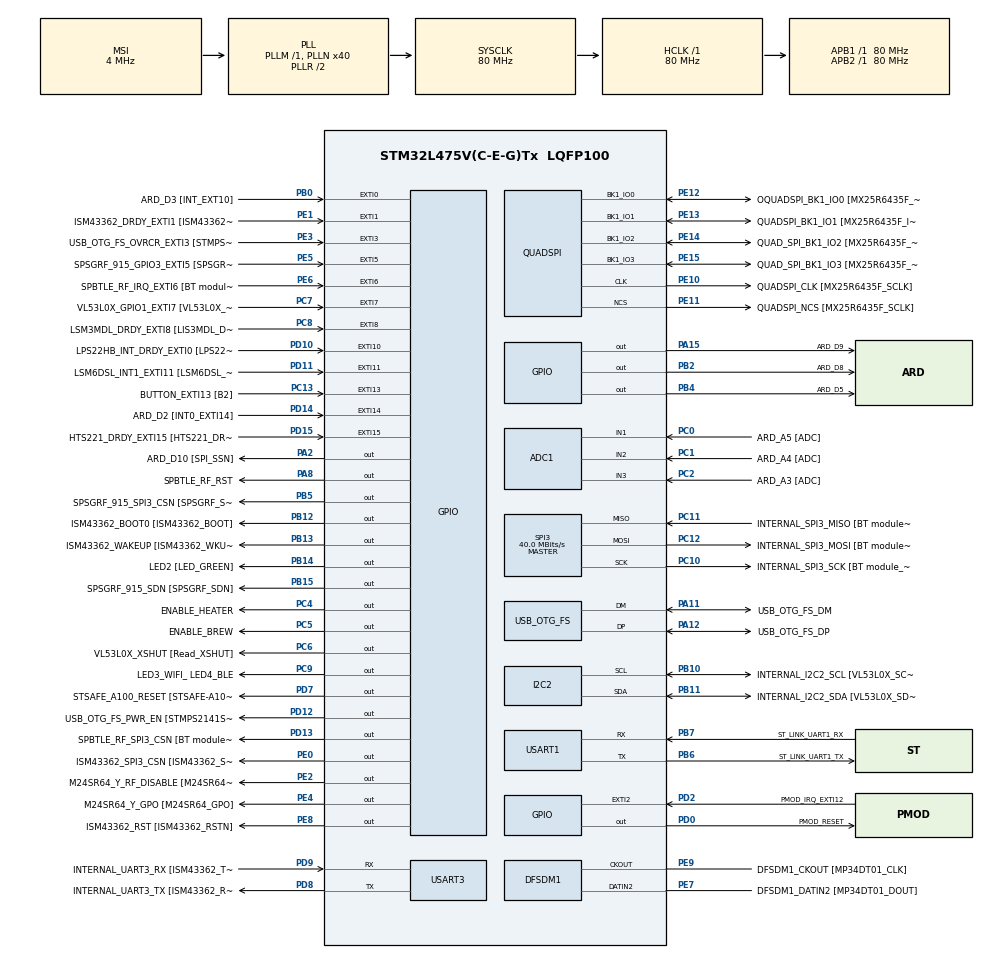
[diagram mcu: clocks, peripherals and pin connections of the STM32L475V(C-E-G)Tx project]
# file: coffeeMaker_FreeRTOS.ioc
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ADC1.Channel-0\#ChannelRegularConversion=ADC_CHANNEL_1
ADC1.NbrOfConversionFlag=1
ADC1.OffsetNumber-0\#ChannelRegularConversion=ADC_OFFSET_NONE
ADC1.Rank-0\#ChannelRegularConversion=1
ADC1.SamplingTime-0\#ChannelRegularConversion=ADC_SAMPLETIME_2CYCLES_5
ADC1.master=1
FREERTOS.INCLUDE_xTimerPendFunctionCall=1
FREERTOS.Tasks01=defaultTask,0,128,StartDefaultTask,Default,NULL,Dynamic,NULL,NULL
FREERTOS.configTOTAL_HEAP_SIZE=4000
FREERTOS.configUSE_TIMERS=1
I2C2.Timing=0x10909CEC
Mcu.Family=STM32L4
Mcu.Name=STM32L475V(C-E-G)Tx
Mcu.Package=LQFP100
NVIC.EXTI15_10_IRQn=true\:5\:0\:false\:false\:true\:true\:true\:true
NVIC.EXTI9_5_IRQn=true\:5\:0\:false\:false\:true\:true\:true\:true
NVIC.PriorityGroup=NVIC_PRIORITYGROUP_4
NVIC.TIM1_UP_TIM16_IRQn=true\:0\:0\:false\:false\:true\:false\:false\:true
NVIC.TimeBase=TIM1_UP_TIM16_IRQn
NVIC.TimeBaseIP=TIM1
PA0.GPIO_Label=ARD_D1 [UART4_TX]
PA0.Signal=UART4_TX
PA1.GPIO_Label=ARD_D0 [UART4_RX]
PA1.Signal=UART4_RX
PA10.GPIO_Label=USB_OTG_FS_ID
PA10.Signal=USB_OTG_FS_ID
PA11.GPIO_Label=USB_OTG_FS_DM
PA11.Mode=Device_Only
PA11.Signal=USB_OTG_FS_DM
PA12.GPIO_Label=USB_OTG_FS_DP
PA12.Mode=Device_Only
PA12.Signal=USB_OTG_FS_DP
PA13\ (JTMS-SWDIO).GPIO_Label=SYS_JTMS_SWDIO
PA13\ (JTMS-SWDIO).Mode=Serial_Wire
PA13\ (JTMS-SWDIO).Signal=SYS_JTMS-SWDIO
PA14\ (JTCK-SWCLK).GPIO_Label=SYS_JTCK_SWCLK
PA14\ (JTCK-SWCLK).Mode=Serial_Wire
PA14\ (JTCK-SWCLK).Signal=SYS_JTCK-SWCLK
PA15\ (JTDI).GPIO_Label=ARD_D9
PA15\ (JTDI).Signal=GPIO_Output
PA2.GPIO_Label=ARD_D10 [SPI_SSN]
PA2.Signal=GPIO_Output
PA3.GPIO_Label=ARD_D4
PA3.Signal=S_TIM2_CH4
PA4.GPIO_Label=ARD_D7
PA4.Signal=ADCx_IN9
PA5.GPIO_Label=ARD_D13 [SPI1_SCK]
PA5.Signal=SPI1_SCK
PA6.GPIO_Label=ARD_D12 [SPI1_MISO]
PA6.Signal=SPI1_MISO
PA7.GPIO_Label=ARD_D11 [SPI1_MOSI]
PA7.Signal=SPI1_MOSI
PA8.GPIO_Label=SPBTLE_RF_RST
PA8.Signal=GPIO_Output
PA9.GPIO_Label=USB_OTG_FS_VBUS [STMPS2141STR_OUT]
PA9.Signal=USB_OTG_FS_VBUS
PB0.GPIO_Label=ARD_D3 [INT_EXT10]
PB0.Signal=GPXTI0
PB1.GPIO_Label=ARD_D6 [ADC1_IN6]
PB1.Signal=ADCx_IN16
PB10.GPIO_Label=INTERNAL_I2C2_SCL [VL53L0X_SCL]
PB10.Mode=I2C
PB10.Signal=I2C2_SCL
PB11.GPIO_Label=INTERNAL_I2C2_SDA [VL53L0X_SDA]
PB11.Mode=I2C
PB11.Signal=I2C2_SDA
PB12.GPIO_Label=ISM43362_BOOT0 [ISM43362_BOOT]
PB12.Signal=GPIO_Output
PB13.GPIO_Label=ISM43362_WAKEUP [ISM43362_WKUP]
PB13.Signal=GPIO_Output
PB14.GPIO_Label=LED2 [LED_GREEN]
PB14.Signal=GPIO_Output
PB15.GPIO_Label=SPSGRF_915_SDN [SPSGRF_SDN]
PB15.Signal=GPIO_Output
PB2.GPIO_Label=ARD_D8
PB2.Signal=GPIO_Output
PB3\ (JTDO-TRACESWO).GPIO_Label=SYS_JTD0_SWO
PB3\ (JTDO-TRACESWO).Signal=SYS_JTDO-SWO
PB4\ (NJTRST).GPIO_Label=ARD_D5
PB4\ (NJTRST).Signal=GPIO_Output
PB5.GPIO_Label=SPSGRF_915_SPI3_CSN [SPSGRF_SPI_CS]
PB5.PinState=GPIO_PIN_SET
PB5.Signal=GPIO_Output
PB6.GPIO_Label=ST_LINK_UART1_TX
PB6.Mode=Asynchronous
PB6.Signal=USART1_TX
PB7.GPIO_Label=ST_LINK_UART1_RX
PB7.Mode=Asynchronous
PB7.Signal=USART1_RX
PB8.GPIO_Label=ARD_D15 [I2C1_SCL]
PB8.Signal=I2C1_SCL
PB9.GPIO_Label=ARD_D14 [I2C1_SDA]
PB9.Signal=I2C1_SDA
PC0.GPIO_Label=ARD_A5 [ADC]
PC0.Signal=ADCx_IN1
PC1.GPIO_Label=ARD_A4 [ADC]
PC1.Signal=ADCx_IN2
PC10.GPIO_Label=INTERNAL_SPI3_SCK [BT module_SPI_SCLK] [ISM43362_SCK]
PC10.Mode=Full_Duplex_Master
PC10.Signal=SPI3_SCK
PC11.GPIO_Label=INTERNAL_SPI3_MISO [BT module_SPI_MISO] [ISM43362_MISO]
PC11.Mode=Full_Duplex_Master
PC11.Signal=SPI3_MISO
PC12.GPIO_Label=INTERNAL_SPI3_MOSI [BT module_SPI_MOSI] [ISM43362_MOSI]
PC12.Mode=Full_Duplex_Master
PC12.Signal=SPI3_MOSI
PC13.GPIO_Label=BUTTON_EXTI13 [B2]
PC13.GPIO_ModeDefaultEXTI=GPIO_MODE_IT_FALLING
PC13.Signal=GPXTI13
PC14-OSC32_IN\ (PC14).Mode=LSE-External-Oscillator
PC14-OSC32_IN\ (PC14).Signal=RCC_OSC32_IN
PC15-OSC32_OUT\ (PC15).Mode=LSE-External-Oscillator
PC15-OSC32_OUT\ (PC15).Signal=RCC_OSC32_OUT
PC2.GPIO_Label=ARD_A3 [ADC]
PC2.Signal=ADCx_IN3
PC3.GPIO_Label=ARD_A2 [ADC]
PC3.Signal=ADCx_IN4
PC4.GPIO_Label=ENABLE_HEATER
PC4.Signal=GPIO_Output
PC5.GPIO_Label=ENABLE_BREW
PC5.Signal=GPIO_Output
PC6.GPIO_Label=VL53L0X_XSHUT [Read_XSHUT]
PC6.Signal=GPIO_Output
PC7.GPIO_Label=VL53L0X_GPIO1_EXTI7 [VL53L0X_GPIO1]
PC7.Signal=GPXTI7
PC8.GPIO_Label=LSM3MDL_DRDY_EXTI8 [LIS3MDL_DRDY]
PC8.Signal=GPXTI8
PC9.GPIO_Label=LED3_WIFI_ LED4_BLE
PC9.Signal=GPIO_Output
PD0.GPIO_Label=PMOD_RESET
PD0.Signal=GPIO_Output
PD1.GPIO_Label=PMOD_SPI2_SCK
PD1.Signal=SPI2_SCK
PD10.GPIO_Label=LPS22HB_INT_DRDY_EXTI0 [LPS22HB_INT_DRDY] 
PD10.Signal=GPXTI10
PD11.GPIO_Label=LSM6DSL_INT1_EXTI11 [LSM6DSL_INT1]
PD11.Signal=GPXTI11
PD12.GPIO_Label=USB_OTG_FS_PWR_EN [STMPS2141STR_EN]
PD12.Signal=GPIO_Output
PD13.GPIO_Label=SPBTLE_RF_SPI3_CSN [BT module_SPI_CS]
PD13.PinState=GPIO_PIN_SET
PD13.Signal=GPIO_Output
PD14.GPIO_Label=ARD_D2 [INT0_EXTI14]
PD14.Signal=GPXTI14
PD15.GPIO_Label=HTS221_DRDY_EXTI15 [HTS221_DRDY]
PD15.Signal=GPXTI15
PD2.GPIO_Label=PMOD_IRQ_EXTI12
PD2.Signal=GPXTI2
PD3.GPIO_Label=PMOD_UART2_CTS
PD3.Signal=USART2_CTS
PD4.GPIO_Label=PMOD_UART2_RTS
PD4.Signal=USART2_RTS
PD5.GPIO_Label=PMOD_UART2_TX
PD5.Signal=USART2_TX
PD6.GPIO_Label=PMOD_UART2_RX
PD6.Signal=USART2_RX
PD7.GPIO_Label=STSAFE_A100_RESET [STSAFE-A100_RESET]
PD7.Signal=GPIO_Output
PD8.GPIO_Label=INTERNAL_UART3_TX [ISM43362_RX]
PD8.Mode=Asynchronous
PD8.Signal=USART3_TX
PD9.GPIO_Label=INTERNAL_UART3_RX [ISM43362_TX]
PD9.Mode=Asynchronous
PD9.Signal=USART3_RX
PE0.GPIO_Label=ISM43362_SPI3_CSN [ISM43362_SSN]
PE0.PinState=GPIO_PIN_SET
PE0.Signal=GPIO_Output
PE1.GPIO_Label=ISM43362_DRDY_EXTI1 [ISM43362_DATARDY]
PE1.Signal=GPXTI1
PE10.GPIO_Label=QUADSPI_CLK [MX25R6435F_SCLK]
PE10.Mode=Single Bank
PE10.Signal=QUADSPI_CLK
PE11.GPIO_Label=QUADSPI_NCS [MX25R6435F_SCLK]
PE11.Mode=Single Bank
PE11.Signal=QUADSPI_NCS
PE12.GPIO_Label=OQUADSPI_BK1_IO0 [MX25R6435F_IO0]
PE12.Mode=Single Bank
PE12.Signal=QUADSPI_BK1_IO0
PE13.GPIO_Label=QUADSPI_BK1_IO1 [MX25R6435F_IO1]
PE13.Mode=Single Bank
PE13.Signal=QUADSPI_BK1_IO1
PE14.GPIO_Label=QUAD_SPI_BK1_IO2 [MX25R6435F_IO2]
PE14.Mode=Single Bank
PE14.Signal=QUADSPI_BK1_IO2
PE15.GPIO_Label=QUAD_SPI_BK1_IO3 [MX25R6435F_IO3]
PE15.Mode=Single Bank
PE15.Signal=QUADSPI_BK1_IO3
PE2.GPIO_Label=M24SR64_Y_RF_DISABLE [M24SR64_RFDIS]
PE2.Signal=GPIO_Output
PE3.GPIO_Label=USB_OTG_FS_OVRCR_EXTI3 [STMPS2141STR_FAULT]
PE3.Signal=GPXTI3
PE4.GPIO_Label=M24SR64_Y_GPO [M24SR64_GPO]
PE4.Signal=GPIO_Output
PE5.GPIO_Label=SPSGRF_915_GPIO3_EXTI5 [SPSGRF_GPIO_3]
PE5.Signal=GPXTI5
PE6.GPIO_Label=SPBTLE_RF_IRQ_EXTI6 [BT module_SPI_IRQ]
PE6.Signal=GPXTI6
PE7.GPIO_Label=DFSDM1_DATIN2 [MP34DT01_DOUT]
PE7.Signal=S_DATAIN2DFSDM1
PE8.GPIO_Label=ISM43362_RST [ISM43362_RSTN]
PE8.Signal=GPIO_Output
PE9.GPIO_Label=DFSDM1_CKOUT [MP34DT01_CLK]
PE9.Signal=S_CKOUTDFSDM1
ProjectManager.HeapSize=0x200
ProjectManager.StackSize=0x400
ProjectManager.TargetToolchain=STM32CubeIDE
RCC.ADCFreq_Value=48000000
RCC.AHBFreq_Value=80000000
RCC.APB1Freq_Value=80000000
RCC.APB1TimFreq_Value=80000000
RCC.APB2Freq_Value=80000000
RCC.APB2TimFreq_Value=80000000
RCC.CortexFreq_Value=80000000
RCC.HCLKFreq_Value=80000000
RCC.HSE_VALUE=8000000
RCC.HSI_VALUE=16000000
RCC.MSI_VALUE=4000000
RCC.PLLN=40
RCC.PLLSAI1N=24
RCC.SYSCLKFreq_VALUE=80000000
RCC.SYSCLKSource=RCC_SYSCLKSOURCE_PLLCLK
RCC.USBFreq_Value=48000000
RCC.VCOOutputFreq_Value=160000000
SH.ADCx_IN1.0=ADC1_IN1,IN1-Single-Ended
SH.ADCx_IN16.0=ADC1_IN16
SH.ADCx_IN2.0=ADC1_IN2,IN2-Single-Ended
SH.ADCx_IN3.0=ADC1_IN3,IN3-Single-Ended
SH.ADCx_IN4.0=ADC1_IN4
SH.ADCx_IN9.0=ADC1_IN9
SH.S_CKOUTDFSDM1.0=DFSDM1_CKOUT,CKOUT
SH.S_CKOUTDFSDM1.1=DFSDM1_CKOUT,PDM_SPI_Input_from_ch12_and_Internal_Clock
SH.S_DATAIN2DFSDM1.0=DFSDM1_DATIN2,PDM_SPI_Input_from_ch12_and_Internal_Clock
SH.S_TIM2_CH4.0=TIM2_CH4
SPI3.CalculateBaudRate=40.0 MBits/s
SPI3.Direction=SPI_DIRECTION_2LINES
SPI3.Mode=SPI_MODE_MASTER
SPI3.VirtualType=VM_MASTER
USART1.VirtualMode-Asynchronous=VM_ASYNC
USART3.VirtualMode-Asynchronous=VM_ASYNC
USB_OTG_FS.VirtualMode=Device_Only
VP_FREERTOS_VS_CMSIS_V1.Mode=CMSIS_V1
VP_SYS_VS_tim1.Mode=TIM1
board=B-L475E-IOT01A1

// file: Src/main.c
/* USER CODE BEGIN Header */
/**
  ******************************************************************************
  * @file           : main.c
  * @brief          : Main program body
  ******************************************************************************
  * @attention
  *
  * <h2><center>&copy; Copyright (c) 2020 STMicroelectronics.
  * All rights reserved.</center></h2>
  *
  * This software component is licensed by ST under Ultimate Liberty license
  * SLA0044, the "License"; You may not use this file except in compliance with
  * the License. You may obtain a copy of the License at:
  *                             www.st.com/SLA0044
  *
  ******************************************************************************
  */
/* USER CODE END Header */

#include "main.h"
#include "cmsis_os.h"

/* USER CODE BEGIN Includes */
#include "stdio.h"
#include "string.h"
/* USER CODE END Includes */

/* USER CODE BEGIN PTD */
typedef struct {
  uint8_t xPosition;
  uint8_t yPosition;
  char * textColor;
  char * textStr;
}queueCfg_t;

/* USER CODE END PTD */

/* USER CODE BEGIN PD */

//ANSI Escape Sequqnces for VT100 terminal emulation
#define RED_ON_BLK  "31;40"
#define WHT_ON_BLK  "37;40"
#define YEL_ON_BLK  "33;40"
#define GRN_ON_BLK  "32;40"
#define BLU_ON_BLK  "34;40"

#define BLK_ON_RED  "30;41"
#define BLK_ON_WHT  "30;47"
#define BLK_ON_YEL  "30;43"
#define BLK_ON_GRN  "30;42"

#define NORMAL WHT_ON_BLK

#define EVENT_GROUP_TEMPERATURE_SET (1<<0)
#define EVENT_GROUP_VOLUME_SET (1<<1)
#define EVENT_GROUP_BREW_ENABLED (1<<2)

#define BLUE_LED_Pin GPIO_PIN_9
#define BLUE_LED_GPIO_Port GPIOC
#define SET_BLUE_LED(enable) HAL_GPIO_WritePin(BLUE_LED_GPIO_Port, BLUE_LED_Pin, !(enable))

#define SET_WARM_MODE(enable) HAL_GPIO_WritePin(ENABLE_HEATER_GPIO_Port, ENABLE_HEATER_Pin, !enable)
#define SET_BREW_MODE(enable) HAL_GPIO_WritePin(ENABLE_BREW_GPIO_Port, ENABLE_BREW_Pin, !enable)

#define STATE_INIT             0
#define STATE_SET_MODE         1
#define STATE_SET_VOLUME       2
#define STATE_SET_TEMPERATURE  3
#define STATE_BREW             4

/* USER CODE END PD */

ADC_HandleTypeDef hadc1;

DFSDM_Channel_HandleTypeDef hdfsdm1_channel1;

I2C_HandleTypeDef hi2c2;

QSPI_HandleTypeDef hqspi;

SPI_HandleTypeDef hspi3;

UART_HandleTypeDef huart1;
UART_HandleTypeDef huart3;

PCD_HandleTypeDef hpcd_USB_OTG_FS;

osThreadId defaultTaskHandle;
/* USER CODE BEGIN PV */
QueueHandle_t xMsgQueue;
SemaphoreHandle_t xButtonClickSemaphore;
ADC_ChannelConfTypeDef sConfig;
SemaphoreHandle_t xMutexADC1;
EventGroupHandle_t xEventGroup;
BaseType_t xHigherPriorityTaskWoken;
TimerHandle_t xBrewTimerAutoReload;
TimerHandle_t xUserInputFlashTimerOneShot;

uint32_t tempSetpoint=10;
uint32_t levelSetpoint=0;

/* USER CODE END PV */

void SystemClock_Config(void);
static void MX_GPIO_Init(void);
static void MX_DFSDM1_Init(void);
static void MX_I2C2_Init(void);
static void MX_QUADSPI_Init(void);
static void MX_SPI3_Init(void);
static void MX_USART1_UART_Init(void);
static void MX_USART3_UART_Init(void);
static void MX_USB_OTG_FS_PCD_Init(void);
static void MX_ADC1_Init(void);
void StartDefaultTask(void const * argument);

/* USER CODE BEGIN 0 */

uint32_t outputMsgCounter = 0;
static void updateUserInterface(int y, int x, char * clr, char * txt)
{
  queueCfg_t queueMsg;
  queueMsg.yPosition=y;
  queueMsg.xPosition=x;
  queueMsg.textColor=clr;
  queueMsg.textStr=txt;
  xQueueSendToBack(xMsgQueue, &queueMsg, portMAX_DELAY);
  //this delay intentionally slow queue TX processing
  //20msec is a 50Hz update rate
  vTaskDelay(pdMS_TO_TICKS(20));
  outputMsgCounter++;
}
//talkTag1
static void prvUserInputFlashTimerOneShot(TimerHandle_t xTimer)
{
  //turn LED OFF
  //since this GPIO is also controlled by an interrupt handler
  //need to designate this as a critical section for GPIO resourse management.
  taskENTER_CRITICAL();
  SET_BLUE_LED(0);
  taskEXIT_CRITICAL();
  (void)xTimer;
}

//talkTag2
uint32_t uptime=0;
static void prvBrewTimerAutoReload(TimerHandle_t xTimer)
{
  char buf[80];
  sprintf(buf, "%li secs", uptime);
  updateUserInterface(25, 27, YEL_ON_BLK,  buf);
  uptime++;
  (void)xTimer;
}

//talkTag3
static void prvTaskConsoleOutput(void* pvParameters)
{
  char buf[80];
  queueCfg_t queueMsg;

  //init output
  snprintf(buf, sizeof(buf), "\033[2J");
  HAL_UART_Transmit(&huart1, (uint8_t *)buf, strlen(buf), 1000);

  for (;; )
  {
    //Wait for a user defined data element to become available on a queue.  If queue is not empty:
    uxQueueMessagesWaiting(xMsgQueue);
    while (uxQueueMessagesWaiting(xMsgQueue))
    {
      //Pull data element from the queue.
      xQueueReceive(xMsgQueue, &queueMsg, portMAX_DELAY);
      //Format the output char array
      sprintf(buf, "\033[%d;%dH\033[%sm%s", queueMsg.xPosition, queueMsg.yPosition, queueMsg.textColor, queueMsg.textStr);
      HAL_UART_Transmit(&huart1, (uint8_t *)buf, strlen(buf), 1000);
      sprintf(buf, "\033[1D");
      HAL_UART_Transmit(&huart1, (uint8_t *)buf, strlen(buf), 1000);
    }
  }
}
static void prvTaskProcessUserInput(void* pvParameters)
{
  uint8_t enableBrew = 0;
  uint8_t ySelectorPosition;
  uint8_t previous_ySelectorPosition;
  uint32_t adcReadVal;
  uint8_t buttonClicked = 0;

  char buf[80];

  //init state mechine to STATE_INIT
  uint8_t userInterfaceState = STATE_INIT;

  for (;;)
  {
    //hard code bypass of all userSelect code
    //shutdown the user interface in brew mode

    if(enableBrew == 0)
    {
      //Take mutex to access ADC.
      xSemaphoreTake(xMutexADC1, portMAX_DELAY);
      {
        sConfig.Channel = ADC_CHANNEL_1;
        HAL_ADC_ConfigChannel(&hadc1, &sConfig);
        HAL_ADC_Start(&hadc1);
        while(HAL_ADC_PollForConversion(&hadc1, HAL_MAX_DELAY)!=HAL_OK);
        adcReadVal = HAL_ADC_GetValue(&hadc1);
      }
      //Give mutex
      xSemaphoreGive(xMutexADC1);

      if(xSemaphoreTake(xButtonClickSemaphore,0))
      {
        //selects state active behavior
        buttonClicked=1;
      }
      else
      {
        //selects state default behavior
        buttonClicked=0;
      }

      //main process state machine
      //goes idle when brewEable = 1
      //states will reset buttonClicked to 0
      switch(userInterfaceState)
      {
        //state:STATE_INIT
        //one time init to the screen
        case(STATE_INIT):
        {
          //state:STATE_INIT
          //one time init to the screen
          //Perform a one-time initialization of the VT100 console.
          updateUserInterface(0, 1, BLU_ON_BLK,  "Welcome to Embedded Real-Time Operating Systems (RTOS)");
          updateUserInterface(0, 2, BLU_ON_BLK,  "~~~~~~~~~~~~~~~~~~~~~~~~~~~~~~~~~~~~~~~~~~~~~~~~~~~~~~");
          updateUserInterface(0, 3, BLU_ON_BLK,  "~            Assignment: Final Project               ~");
          updateUserInterface(0, 4, BLU_ON_BLK,  "~         Course Number: ECE-40290                   ~");
          updateUserInterface(0, 5, BLU_ON_BLK,  "~            Section ID: 146369                      ~");
          updateUserInterface(0, 6, BLU_ON_BLK,  "~          Student Name: Chris Isabelle              ~");
          updateUserInterface(0, 7, BLU_ON_BLK,  "~                   SID: U01136665                   ~");
          updateUserInterface(0, 8, BLU_ON_BLK,  "~~~~~~~~~~~~~~~~~~~~~~~~~~~~~~~~~~~~~~~~~~~~~~~~~~~~~~");

          updateUserInterface(4, 10, YEL_ON_BLK,  "  Coffee Level (oz)");
          updateUserInterface(16, 11, YEL_ON_BLK,  "   Set:");
          updateUserInterface(24, 11, RED_ON_BLK,  "unknown");
          updateUserInterface(16, 12, YEL_ON_BLK,  "Actual:");

          updateUserInterface(4, 14, YEL_ON_BLK,  "  Coffee Temperature");
          updateUserInterface(16, 15, YEL_ON_BLK,  "   Set:");
          updateUserInterface(24, 15, RED_ON_BLK,  "unknown");
          updateUserInterface(16, 16, YEL_ON_BLK,  "Actual:");

          updateUserInterface(4, 18, YEL_ON_BLK,  "  Start Brew");
          updateUserInterface(4, 20, GRN_ON_BLK,  ">>Use Joy-Stick to Select");
          //changes state to STATE_SET_MODE
          userInterfaceState = STATE_SET_MODE;
          //selects state default behavior
          buttonClicked=0;
          break;
        }

        //state:STATE_SET_MODE
        //Joy stick scrolls UP/DOWN and selects userInterfaceState
        case(STATE_SET_MODE):
        {
          //Scale and limit screen y value to line-up with screen options
          //1790 & 512 are manual cal adjust for specific platform
          ySelectorPosition += (((int16_t)adcReadVal)-1790)/512;
          ySelectorPosition = ySelectorPosition > 0xf ? 0xf : ySelectorPosition;
          ySelectorPosition = ySelectorPosition < 0 ? 0 : ySelectorPosition;
          ySelectorPosition &= 0xc;

          //default behavior : scroll up an down with current selection in GRN all other option are in YEL
          if(ySelectorPosition!=previous_ySelectorPosition)
          {
            updateUserInterface(4, 10, YEL_ON_BLK,  "  Coffee Level (oz)");
            updateUserInterface(4, 14, YEL_ON_BLK,  "  Coffee Temperature");
            updateUserInterface(4, 18, YEL_ON_BLK,  "  Start Brew");
            updateUserInterface(4, 20, YEL_ON_BLK,  "  Use Joy-Stick to Select");
            switch(ySelectorPosition)
            {
              case(0x0):updateUserInterface(4, 10, GRN_ON_BLK,  ">>Coffee Level (oz)"); break;
              case(0x4):updateUserInterface(4, 14, GRN_ON_BLK,  ">>Coffee Temperature"); break;
              case(0x8):updateUserInterface(4, 18, GRN_ON_BLK,  ">>Start Brew"); break;
              case(0xc):updateUserInterface(4, 20, GRN_ON_BLK,  ">>Use Joy-Stick to Select"); break;
            }
            previous_ySelectorPosition = ySelectorPosition;
            //add additional delay to slow slew rate
            vTaskDelay(pdMS_TO_TICKS(100));
          }
          //active behavior : detect user button click and set userInterfaceState.
          if(buttonClicked)
          {
            //selects state default behavior
            buttonClicked=0;
            switch(ySelectorPosition)
            {
                            //user selection adjust coffee volume
                case(0x0):  userInterfaceState = STATE_SET_VOLUME;
                            break;
                            //user selection adjust coffee temperature
                case(0x4):  userInterfaceState = STATE_SET_TEMPERATURE;
                            break;
                case(0x8):  userInterfaceState = STATE_BREW;
                            updateUserInterface(4, 18, YEL_ON_BLK,  "  Start Brew");
                            updateUserInterface(6, 24, GRN_ON_BLK,  "~~~~~~~~~~~~~~~~~~~~~~~~~~~~~");
                            updateUserInterface(6, 25, GRN_ON_BLK,  "~    Coffee Brew :          ~");
                            updateUserInterface(6, 26, GRN_ON_BLK,  "~  Coffee Warmer :          ~");
                            updateUserInterface(6, 27, GRN_ON_BLK,  "~      Brew Time :          ~");
                            updateUserInterface(6, 28, GRN_ON_BLK,  "~~~~~~~~~~~~~~~~~~~~~~~~~~~~~");
                            break;
            }
          }
          break;
        }

       //state:STATE_SET_VOLUME
       //Joy stick scrolls UP/DOWN and selects levelSetpoint
        case(STATE_SET_VOLUME):
        {
          //active behavior : set userInterfaceState to STATE_SET_MODE, locks levelSetpoint
          if(buttonClicked)
          {
            //selects state default behavior
            buttonClicked=0;
            userInterfaceState = STATE_SET_MODE;
            xEventGroupSetBits( xEventGroup, EVENT_GROUP_VOLUME_SET);
            updateUserInterface(4, 10, YEL_ON_BLK,  "  Coffee Level (oz)");
            updateUserInterface(4, 20, GRN_ON_BLK,  ">>Use Joy-Stick to Select ");
            break;
          }
          //default behavior : scroll UP/DOWN in volume level in oz

          //adcReadVal of 3096 (~75% of ADC full scale) is a calibrated threshold for levelSetPoint decrement
          if(adcReadVal > 3096)
            levelSetpoint--;

          //adcReadVal of 1024 (~25% of ADC full scale) is a calibrated threshold for levelSetPoint increment
          if(adcReadVal < 1024)
            levelSetpoint++;

          //levelSetpoint maximum size is 20oz
          if(levelSetpoint > 20)
            levelSetpoint=20;

          //levelSetpoint minimum (and default) size is 4oz
          if(levelSetpoint < 4)
            levelSetpoint=4;

          //formats msg for real time ASNI updates to the trminal
          sprintf(buf, "%li oz    ", levelSetpoint);
          updateUserInterface(24, 11, GRN_ON_BLK,  buf);

          //add additional 100ms delay to slow slew rate
          vTaskDelay(pdMS_TO_TICKS(100));

          break;
        }

        //state:STATE_SET_TEMPERATURE
        //Joy stick scrolls UP/DOWN and selects tempSetpoint
        case(STATE_SET_TEMPERATURE):
        {
          //active behavior : set userInterfaceState to STATE_SET_MODE, locks tempSetpoint
          if(buttonClicked)
          {
            //selects state default behavior
            buttonClicked=0;
            userInterfaceState = STATE_SET_MODE;
            xEventGroupSetBits( xEventGroup, EVENT_GROUP_TEMPERATURE_SET);
            updateUserInterface(4, 14, YEL_ON_BLK,  "  Coffee Temperature (degC)");
            updateUserInterface(4, 20, GRN_ON_BLK,  ">>Use Joy-Stick to Select ");
            break;
          }

          //default behavior : scroll UP/DOWN in volume level in oz

          //adcReadVal of 3096 (~75% of ADC full scale) is a calibrated threshold for levelSetPoint decrement
          if(adcReadVal > 3096)
            tempSetpoint--;

          //adcReadVal of 1024 (~25% of ADC full scale) is a calibrated threshold for levelSetPoint increment
          if(adcReadVal < 1024)
            tempSetpoint++;

          //levelSetpoint maximum size is 60degC
          if(tempSetpoint>60)
            tempSetpoint=60;

          //tempSetpoint minimum (and default) size is 24degC
          if(tempSetpoint<24)
            tempSetpoint=24;

          //formats msg for real time ASNI updates to the trminal
          sprintf(buf, "%li degC / %li degF ", tempSetpoint, (uint32_t)((double)tempSetpoint * 1.8) + 32);
          updateUserInterface(24, 15, GRN_ON_BLK,  buf);

          //add additional 100msec delay to slow slew rate
          vTaskDelay(pdMS_TO_TICKS(100));

          break;
        }

        //state:STATE_SET_BREW
        //Joy stick selects BREW
        //xEventGroup EVENT_GROUP_BREW_ENABLED=1, releases  prvTaskProcessTemperature & prvTaskProcessLevel
        case(STATE_BREW):
        {
          //selects state default behavior
          buttonClicked=0;
          xEventGroupSetBits( xEventGroup, EVENT_GROUP_BREW_ENABLED);

          //start Brew timer
          xTimerStart(xBrewTimerAutoReload, 0);

          updateUserInterface(4, 20, GRN_ON_BLK,  ">>Use Joy-Stick to Select ");
          //set task to idle
          enableBrew = 1;
          break;
        }

        //state:INVALID
        default:
          //exception
          while(1);
      }
    }
    //process user interface ~ 10HZ
    //100msec is a 10Hz update rate
    vTaskDelay(pdMS_TO_TICKS(100));
  }
}

static void prvTaskProcessTemperature(void* pvParameters)
{
  char buf[80];
  uint32_t adcTemperature;
  for (;;)
  {
    //Check event group for OK to monitor & control temperature.
    xEventGroupWaitBits(xEventGroup,
        EVENT_GROUP_TEMPERATURE_SET | EVENT_GROUP_BREW_ENABLED,
        pdFALSE, //do not clear bits
        pdTRUE,  //wait for all bits
        portMAX_DELAY);

    //Take mutex to access ADC.
    xSemaphoreTake(xMutexADC1, portMAX_DELAY);
    {
      //Read ADC to acquire coffee temperature.
      sConfig.Channel = ADC_CHANNEL_3;
      HAL_ADC_ConfigChannel(&hadc1, &sConfig);
      HAL_ADC_Start(&hadc1);
      while(HAL_ADC_PollForConversion(&hadc1, HAL_MAX_DELAY)!=HAL_OK);
      adcTemperature = (uint32_t)( ((float)HAL_ADC_GetValue(&hadc1)/4096) * 100);
    }
    //Give mutex
    xSemaphoreGive(xMutexADC1);

    //Send output message to pvTaskConsoleOutput by placing a user defined data element on a queue.
    sprintf(buf, "%li degC / %li degF ", adcTemperature, (uint32_t)((double)adcTemperature * 1.8) + 32);
    updateUserInterface(24, 16, GRN_ON_BLK, buf);

    //Enable coffee warmer if coffee temperature below set point.
    if(adcTemperature > (tempSetpoint+1))
    {
      SET_WARM_MODE(0);
      updateUserInterface(25, 26, YEL_ON_BLK, "OFF");
    }

    //Disable coffee warmer if coffee temperature above the set point.
    if(adcTemperature < (tempSetpoint-1))
    {
      SET_WARM_MODE(1);
      updateUserInterface(25, 26, RED_ON_BLK, "ON ");
    }

    //update temperature at  1hz rate
    //delay 1000msec
    vTaskDelay(pdMS_TO_TICKS(1000));
  }
}
static void prvTaskProcessLevel(void* pvParameters)
{
  char buf[80];
  uint32_t adcLevel;
  for (;;)
  {
    //Check event group for OK to monitor & control level.
    xEventGroupWaitBits(xEventGroup,
        EVENT_GROUP_VOLUME_SET | EVENT_GROUP_BREW_ENABLED,
        pdFALSE, //do not clear bits
        pdTRUE,  //wait for all bits
        portMAX_DELAY);

    //Take mutex to access ADC.
    xSemaphoreTake(xMutexADC1, portMAX_DELAY);
    {
      //Read ADC to acquire coffee level.
      sConfig.Channel = ADC_CHANNEL_2;
      HAL_ADC_ConfigChannel(&hadc1, &sConfig);
      HAL_ADC_Start(&hadc1);
      while(HAL_ADC_PollForConversion(&hadc1, HAL_MAX_DELAY)!=HAL_OK);
      adcLevel = (uint32_t)( ((float)HAL_ADC_GetValue(&hadc1)/4096) * 24);
    }
    //Give mutex
    xSemaphoreGive(xMutexADC1);

    //Send output message to pvTaskConsoleOutput by placing a user defined data element on a queue.
    sprintf(buf, "%li oz  ", adcLevel);
    updateUserInterface(24, 12, GRN_ON_BLK, buf);

    if(adcLevel >= levelSetpoint)
    {
      SET_BREW_MODE(0);
      updateUserInterface(25, 25, RED_ON_BLK, "READY");
//      //this terminates the coffee level processing until a reset/restart
//      xEventGroupSetBits( xEventGroup, EVENT_GROUP_VOLUME_SET);
    }
    else
    {
      SET_BREW_MODE(1);
      updateUserInterface(25, 25, GRN_ON_BLK, "ON   ");
    }
    //update volume at 1hz rate
    //delay 1000msec
    vTaskDelay(pdMS_TO_TICKS(1000));
  }
}
//C callback function to trap interrupt for Blue <USER> button press
void HAL_GPIO_EXTI_Callback(uint16_t GPIO_Pin)
{
  xHigherPriorityTaskWoken = pdFALSE;
  UBaseType_t unSavedInterruptStatus;

  if(GPIO_Pin == BUTTON_EXTI13_Pin)
  {
    //turn LED ON
    //since this GPIO is also controlled by a task
    //need to designate this as a critical section for GPIO resourse management.
    unSavedInterruptStatus = taskENTER_CRITICAL_FROM_ISR();
    SET_BLUE_LED(1);
    taskEXIT_CRITICAL_FROM_ISR(unSavedInterruptStatus);

    //start one shot timer that turns LED off.
    xTimerStartFromISR(xUserInputFlashTimerOneShot, 0);
    xSemaphoreGiveFromISR(xButtonClickSemaphore, &xHigherPriorityTaskWoken);
    portYIELD_FROM_ISR(xHigherPriorityTaskWoken);
  }
}

/* USER CODE END 0 */

int main(void)
{

  /* MCU Configuration--------------------------------------------------------*/

  /* Reset of all peripherals, Initializes the Flash interface and the Systick. */
  HAL_Init();

  /* USER CODE BEGIN Init */
  sConfig.Channel = ADC_CHANNEL_1;
  sConfig.Rank = ADC_REGULAR_RANK_1;
  sConfig.SamplingTime = ADC_SAMPLETIME_2CYCLES_5;
  sConfig.SingleDiff = ADC_SINGLE_ENDED;
  sConfig.OffsetNumber = ADC_OFFSET_NONE;
  sConfig.Offset = 0;

  /* USER CODE END Init */

  /* Configure the system clock */
  SystemClock_Config();

  /* Initialize all configured peripherals */
  MX_GPIO_Init();
  MX_DFSDM1_Init();
  MX_I2C2_Init();
  MX_QUADSPI_Init();
  MX_SPI3_Init();
  MX_USART1_UART_Init();
  MX_USART3_UART_Init();
  MX_USB_OTG_FS_PCD_Init();
  MX_ADC1_Init();
  /* USER CODE BEGIN 2 */
  xEventGroup = xEventGroupCreate();
  //this sequence resets and initializes the simulator
  SET_WARM_MODE(1);
  SET_BREW_MODE(1);
  HAL_Delay(500);
  SET_WARM_MODE(0);
  SET_BREW_MODE(0);
  //initialize Blue LED to off
  SET_BLUE_LED(0);
  /* USER CODE END 2 */

  /* USER CODE BEGIN RTOS_MUTEX */
  xMutexADC1 = xSemaphoreCreateMutex();
  /* USER CODE END RTOS_MUTEX */

  /* USER CODE BEGIN RTOS_SEMAPHORES */
  xButtonClickSemaphore = xSemaphoreCreateBinary();
  /* USER CODE END RTOS_SEMAPHORES */

  /* USER CODE BEGIN RTOS_TIMERS */

  //Toggles LED every one second
  xBrewTimerAutoReload = xTimerCreate("AutoReload", /* The text name assigned to the timer. */
    pdMS_TO_TICKS(1000),            /* Timer delay. */
    pdTRUE,                         /* AutoRestart = TRUE. */
    0,                              /* pvTimerID */
    prvBrewTimerAutoReload);        /* The function that implements the timer. */

  //Turns off LED aftr .5 seconds
  xUserInputFlashTimerOneShot = xTimerCreate("OneShot", /* The text name assigned to the timer. */
    pdMS_TO_TICKS(500),             /* Timer delay. */
    pdFALSE,                        /* AutoRestart = TRUE. */
    0,                              /* pvTimerID */
    prvUserInputFlashTimerOneShot);        /* The function that implements the timer. */

  /* USER CODE END RTOS_TIMERS */

  /* USER CODE BEGIN RTOS_QUEUES */
  //create a queue 5 deep of user defined queueCfg_t data elements
  xMsgQueue = xQueueCreate(10, sizeof(queueCfg_t));
  /* USER CODE END RTOS_QUEUES */

  /* Create the thread(s) */
  /* definition and creation of defaultTask */
  osThreadDef(defaultTask, StartDefaultTask, osPriorityNormal, 0, 128);
  defaultTaskHandle = osThreadCreate(osThread(defaultTask), NULL);

  /* USER CODE BEGIN RTOS_THREADS */
  BaseType_t rtnVal;
  rtnVal = xTaskCreate(prvTaskConsoleOutput, "cons-out task", configMINIMAL_STACK_SIZE, NULL, 2, NULL);
  if(rtnVal == -1)  //exception
    while(1);

  rtnVal = xTaskCreate(prvTaskProcessUserInput, "proc-user task", configMINIMAL_STACK_SIZE, NULL, 3, NULL);
  if(rtnVal == -1)  //exception
    while(1);

  rtnVal = xTaskCreate(prvTaskProcessTemperature, "pro-temp task", configMINIMAL_STACK_SIZE, NULL, 4, NULL);
  if(rtnVal == -1)  //exception
    while(1);

  rtnVal = xTaskCreate(prvTaskProcessLevel, "proc-vol task", configMINIMAL_STACK_SIZE, NULL, 4, NULL);
  if(rtnVal == -1)  //exception
    while(1);

  /* add threads, ... */
  /* USER CODE END RTOS_THREADS */

  /* Start scheduler */
  osKernelStart();

  /* We should never get here as control is now taken by the scheduler */
  /* Infinite loop */
  while (1)
  {

  }
}

void SystemClock_Config(void)
{
  RCC_OscInitTypeDef RCC_OscInitStruct = {0};
  RCC_ClkInitTypeDef RCC_ClkInitStruct = {0};
  RCC_PeriphCLKInitTypeDef PeriphClkInit = {0};

  /** Configure LSE Drive Capability
  */
  HAL_PWR_EnableBkUpAccess();
  __HAL_RCC_LSEDRIVE_CONFIG(RCC_LSEDRIVE_LOW);
  /** Initializes the CPU, AHB and APB busses clocks
  */
  RCC_OscInitStruct.OscillatorType = RCC_OSCILLATORTYPE_LSE|RCC_OSCILLATORTYPE_MSI;
  RCC_OscInitStruct.LSEState = RCC_LSE_ON;
  RCC_OscInitStruct.MSIState = RCC_MSI_ON;
  RCC_OscInitStruct.MSICalibrationValue = 0;
  RCC_OscInitStruct.MSIClockRange = RCC_MSIRANGE_6;
  RCC_OscInitStruct.PLL.PLLState = RCC_PLL_ON;
  RCC_OscInitStruct.PLL.PLLSource = RCC_PLLSOURCE_MSI;
  RCC_OscInitStruct.PLL.PLLM = 1;
  RCC_OscInitStruct.PLL.PLLN = 40;
  RCC_OscInitStruct.PLL.PLLP = RCC_PLLP_DIV7;
  RCC_OscInitStruct.PLL.PLLQ = RCC_PLLQ_DIV2;
  RCC_OscInitStruct.PLL.PLLR = RCC_PLLR_DIV2;
  if (HAL_RCC_OscConfig(&RCC_OscInitStruct) != HAL_OK)
  {
    Error_Handler();
  }
  /** Initializes the CPU, AHB and APB busses clocks
  */
  RCC_ClkInitStruct.ClockType = RCC_CLOCKTYPE_HCLK|RCC_CLOCKTYPE_SYSCLK
                              |RCC_CLOCKTYPE_PCLK1|RCC_CLOCKTYPE_PCLK2;
  RCC_ClkInitStruct.SYSCLKSource = RCC_SYSCLKSOURCE_PLLCLK;
  RCC_ClkInitStruct.AHBCLKDivider = RCC_SYSCLK_DIV1;
  RCC_ClkInitStruct.APB1CLKDivider = RCC_HCLK_DIV1;
  RCC_ClkInitStruct.APB2CLKDivider = RCC_HCLK_DIV1;

  if (HAL_RCC_ClockConfig(&RCC_ClkInitStruct, FLASH_LATENCY_4) != HAL_OK)
  {
    Error_Handler();
  }
  PeriphClkInit.PeriphClockSelection = RCC_PERIPHCLK_USART1|RCC_PERIPHCLK_USART3
                              |RCC_PERIPHCLK_I2C2|RCC_PERIPHCLK_DFSDM1
                              |RCC_PERIPHCLK_USB|RCC_PERIPHCLK_ADC;
  PeriphClkInit.Usart1ClockSelection = RCC_USART1CLKSOURCE_PCLK2;
  PeriphClkInit.Usart3ClockSelection = RCC_USART3CLKSOURCE_PCLK1;
  PeriphClkInit.I2c2ClockSelection = RCC_I2C2CLKSOURCE_PCLK1;
  PeriphClkInit.AdcClockSelection = RCC_ADCCLKSOURCE_PLLSAI1;
  PeriphClkInit.Dfsdm1ClockSelection = RCC_DFSDM1CLKSOURCE_PCLK;
  PeriphClkInit.UsbClockSelection = RCC_USBCLKSOURCE_PLLSAI1;
  PeriphClkInit.PLLSAI1.PLLSAI1Source = RCC_PLLSOURCE_MSI;
  PeriphClkInit.PLLSAI1.PLLSAI1M = 1;
  PeriphClkInit.PLLSAI1.PLLSAI1N = 24;
  PeriphClkInit.PLLSAI1.PLLSAI1P = RCC_PLLP_DIV7;
  PeriphClkInit.PLLSAI1.PLLSAI1Q = RCC_PLLQ_DIV2;
  PeriphClkInit.PLLSAI1.PLLSAI1R = RCC_PLLR_DIV2;
  PeriphClkInit.PLLSAI1.PLLSAI1ClockOut = RCC_PLLSAI1_48M2CLK|RCC_PLLSAI1_ADC1CLK;
  if (HAL_RCCEx_PeriphCLKConfig(&PeriphClkInit) != HAL_OK)
  {
    Error_Handler();
  }
  /** Configure the main internal regulator output voltage
  */
  if (HAL_PWREx_ControlVoltageScaling(PWR_REGULATOR_VOLTAGE_SCALE1) != HAL_OK)
  {
    Error_Handler();
  }
  /** Enable MSI Auto calibration
  */
  HAL_RCCEx_EnableMSIPLLMode();
}

static void MX_ADC1_Init(void)
{

  ADC_MultiModeTypeDef multimode = {0};
  ADC_ChannelConfTypeDef sConfig = {0};

  /** Common config
  */
  hadc1.Instance = ADC1;
  hadc1.Init.ClockPrescaler = ADC_CLOCK_ASYNC_DIV1;
  hadc1.Init.Resolution = ADC_RESOLUTION_12B;
  hadc1.Init.DataAlign = ADC_DATAALIGN_RIGHT;
  hadc1.Init.ScanConvMode = ADC_SCAN_DISABLE;
  hadc1.Init.EOCSelection = ADC_EOC_SINGLE_CONV;
  hadc1.Init.LowPowerAutoWait = DISABLE;
  hadc1.Init.ContinuousConvMode = DISABLE;
  hadc1.Init.NbrOfConversion = 1;
  hadc1.Init.DiscontinuousConvMode = DISABLE;
  hadc1.Init.NbrOfDiscConversion = 1;
  hadc1.Init.ExternalTrigConv = ADC_SOFTWARE_START;
  hadc1.Init.ExternalTrigConvEdge = ADC_EXTERNALTRIGCONVEDGE_NONE;
  hadc1.Init.DMAContinuousRequests = DISABLE;
  hadc1.Init.Overrun = ADC_OVR_DATA_PRESERVED;
  hadc1.Init.OversamplingMode = DISABLE;
  if (HAL_ADC_Init(&hadc1) != HAL_OK)
  {
    Error_Handler();
  }
  /** Configure the ADC multi-mode
  */
  multimode.Mode = ADC_MODE_INDEPENDENT;
  if (HAL_ADCEx_MultiModeConfigChannel(&hadc1, &multimode) != HAL_OK)
  {
    Error_Handler();
  }
  /** Configure Regular Channel
  */
  sConfig.Channel = ADC_CHANNEL_1;
  sConfig.Rank = ADC_REGULAR_RANK_1;
  sConfig.SamplingTime = ADC_SAMPLETIME_2CYCLES_5;
  sConfig.SingleDiff = ADC_SINGLE_ENDED;
  sConfig.OffsetNumber = ADC_OFFSET_NONE;
  sConfig.Offset = 0;
  if (HAL_ADC_ConfigChannel(&hadc1, &sConfig) != HAL_OK)
  {
    Error_Handler();
  }

}

static void MX_DFSDM1_Init(void)
{

  hdfsdm1_channel1.Instance = DFSDM1_Channel1;
  hdfsdm1_channel1.Init.OutputClock.Activation = ENABLE;
  hdfsdm1_channel1.Init.OutputClock.Selection = DFSDM_CHANNEL_OUTPUT_CLOCK_SYSTEM;
  hdfsdm1_channel1.Init.OutputClock.Divider = 2;
  hdfsdm1_channel1.Init.Input.Multiplexer = DFSDM_CHANNEL_EXTERNAL_INPUTS;
  hdfsdm1_channel1.Init.Input.DataPacking = DFSDM_CHANNEL_STANDARD_MODE;
  hdfsdm1_channel1.Init.Input.Pins = DFSDM_CHANNEL_FOLLOWING_CHANNEL_PINS;
  hdfsdm1_channel1.Init.SerialInterface.Type = DFSDM_CHANNEL_SPI_RISING;
  hdfsdm1_channel1.Init.SerialInterface.SpiClock = DFSDM_CHANNEL_SPI_CLOCK_INTERNAL;
  hdfsdm1_channel1.Init.Awd.FilterOrder = DFSDM_CHANNEL_FASTSINC_ORDER;
  hdfsdm1_channel1.Init.Awd.Oversampling = 1;
  hdfsdm1_channel1.Init.Offset = 0;
  hdfsdm1_channel1.Init.RightBitShift = 0x00;
  if (HAL_DFSDM_ChannelInit(&hdfsdm1_channel1) != HAL_OK)
  {
    Error_Handler();
  }

}

static void MX_I2C2_Init(void)
{

  hi2c2.Instance = I2C2;
  hi2c2.Init.Timing = 0x10909CEC;
  hi2c2.Init.OwnAddress1 = 0;
  hi2c2.Init.AddressingMode = I2C_ADDRESSINGMODE_7BIT;
  hi2c2.Init.DualAddressMode = I2C_DUALADDRESS_DISABLE;
  hi2c2.Init.OwnAddress2 = 0;
  hi2c2.Init.OwnAddress2Masks = I2C_OA2_NOMASK;
  hi2c2.Init.GeneralCallMode = I2C_GENERALCALL_DISABLE;
  hi2c2.Init.NoStretchMode = I2C_NOSTRETCH_DISABLE;
  if (HAL_I2C_Init(&hi2c2) != HAL_OK)
  {
    Error_Handler();
  }
  /** Configure Analogue filter
  */
  if (HAL_I2CEx_ConfigAnalogFilter(&hi2c2, I2C_ANALOGFILTER_ENABLE) != HAL_OK)
  {
    Error_Handler();
  }
  /** Configure Digital filter
  */
  if (HAL_I2CEx_ConfigDigitalFilter(&hi2c2, 0) != HAL_OK)
  {
    Error_Handler();
  }

}

static void MX_QUADSPI_Init(void)
{

  /* QUADSPI parameter configuration*/
  hqspi.Instance = QUADSPI;
  hqspi.Init.ClockPrescaler = 255;
  hqspi.Init.FifoThreshold = 1;
  hqspi.Init.SampleShifting = QSPI_SAMPLE_SHIFTING_NONE;
  hqspi.Init.FlashSize = 1;
  hqspi.Init.ChipSelectHighTime = QSPI_CS_HIGH_TIME_1_CYCLE;
  hqspi.Init.ClockMode = QSPI_CLOCK_MODE_0;
  if (HAL_QSPI_Init(&hqspi) != HAL_OK)
  {
    Error_Handler();
  }

}

static void MX_SPI3_Init(void)
{

  /* SPI3 parameter configuration*/
  hspi3.Instance = SPI3;
  hspi3.Init.Mode = SPI_MODE_MASTER;
  hspi3.Init.Direction = SPI_DIRECTION_2LINES;
  hspi3.Init.DataSize = SPI_DATASIZE_4BIT;
  hspi3.Init.CLKPolarity = SPI_POLARITY_LOW;
  hspi3.Init.CLKPhase = SPI_PHASE_1EDGE;
  hspi3.Init.NSS = SPI_NSS_SOFT;
  hspi3.Init.BaudRatePrescaler = SPI_BAUDRATEPRESCALER_2;
  hspi3.Init.FirstBit = SPI_FIRSTBIT_MSB;
  hspi3.Init.TIMode = SPI_TIMODE_DISABLE;
  hspi3.Init.CRCCalculation = SPI_CRCCALCULATION_DISABLE;
  hspi3.Init.CRCPolynomial = 7;
  hspi3.Init.CRCLength = SPI_CRC_LENGTH_DATASIZE;
  hspi3.Init.NSSPMode = SPI_NSS_PULSE_ENABLE;
  if (HAL_SPI_Init(&hspi3) != HAL_OK)
  {
    Error_Handler();
  }

}

static void MX_USART1_UART_Init(void)
{

  huart1.Instance = USART1;
  huart1.Init.BaudRate = 115200;
  huart1.Init.WordLength = UART_WORDLENGTH_8B;
  huart1.Init.StopBits = UART_STOPBITS_1;
  huart1.Init.Parity = UART_PARITY_NONE;
  huart1.Init.Mode = UART_MODE_TX_RX;
  huart1.Init.HwFlowCtl = UART_HWCONTROL_NONE;
  huart1.Init.OverSampling = UART_OVERSAMPLING_16;
  huart1.Init.OneBitSampling = UART_ONE_BIT_SAMPLE_DISABLE;
  huart1.AdvancedInit.AdvFeatureInit = UART_ADVFEATURE_NO_INIT;
  if (HAL_UART_Init(&huart1) != HAL_OK)
  {
    Error_Handler();
  }

}

static void MX_USART3_UART_Init(void)
{

  huart3.Instance = USART3;
  huart3.Init.BaudRate = 115200;
  huart3.Init.WordLength = UART_WORDLENGTH_8B;
  huart3.Init.StopBits = UART_STOPBITS_1;
  huart3.Init.Parity = UART_PARITY_NONE;
  huart3.Init.Mode = UART_MODE_TX_RX;
  huart3.Init.HwFlowCtl = UART_HWCONTROL_NONE;
  huart3.Init.OverSampling = UART_OVERSAMPLING_16;
  huart3.Init.OneBitSampling = UART_ONE_BIT_SAMPLE_DISABLE;
  huart3.AdvancedInit.AdvFeatureInit = UART_ADVFEATURE_NO_INIT;
  if (HAL_UART_Init(&huart3) != HAL_OK)
  {
    Error_Handler();
  }

}

static void MX_USB_OTG_FS_PCD_Init(void)
{

  hpcd_USB_OTG_FS.Instance = USB_OTG_FS;
  hpcd_USB_OTG_FS.Init.dev_endpoints = 6;
  hpcd_USB_OTG_FS.Init.speed = PCD_SPEED_FULL;
  hpcd_USB_OTG_FS.Init.phy_itface = PCD_PHY_EMBEDDED;
  hpcd_USB_OTG_FS.Init.Sof_enable = DISABLE;
  hpcd_USB_OTG_FS.Init.low_power_enable = DISABLE;
  hpcd_USB_OTG_FS.Init.lpm_enable = DISABLE;
  hpcd_USB_OTG_FS.Init.battery_charging_enable = DISABLE;
  hpcd_USB_OTG_FS.Init.use_dedicated_ep1 = DISABLE;
  hpcd_USB_OTG_FS.Init.vbus_sensing_enable = DISABLE;
  if (HAL_PCD_Init(&hpcd_USB_OTG_FS) != HAL_OK)
  {
    Error_Handler();
  }

}

static void MX_GPIO_Init(void)
{
  GPIO_InitTypeDef GPIO_InitStruct = {0};

  /* GPIO Ports Clock Enable */
  __HAL_RCC_GPIOE_CLK_ENABLE();
  __HAL_RCC_GPIOC_CLK_ENABLE();
  __HAL_RCC_GPIOA_CLK_ENABLE();
  __HAL_RCC_GPIOB_CLK_ENABLE();
  __HAL_RCC_GPIOD_CLK_ENABLE();

  /*Configure GPIO pin Output Level */
  HAL_GPIO_WritePin(GPIOE, M24SR64_Y_RF_DISABLE_Pin|M24SR64_Y_GPO_Pin|ISM43362_RST_Pin, GPIO_PIN_RESET);

  /*Configure GPIO pin Output Level */
  HAL_GPIO_WritePin(GPIOA, ARD_D10_Pin|SPBTLE_RF_RST_Pin|ARD_D9_Pin, GPIO_PIN_RESET);

  /*Configure GPIO pin Output Level */
  HAL_GPIO_WritePin(GPIOC, ENABLE_HEATER_Pin|ENABLE_BREW_Pin|VL53L0X_XSHUT_Pin|LED3_WIFI__LED4_BLE_Pin, GPIO_PIN_RESET);

  /*Configure GPIO pin Output Level */
  HAL_GPIO_WritePin(GPIOB, ARD_D8_Pin|ISM43362_BOOT0_Pin|ISM43362_WAKEUP_Pin|LED2_Pin
                          |SPSGRF_915_SDN_Pin|ARD_D5_Pin, GPIO_PIN_RESET);

  /*Configure GPIO pin Output Level */
  HAL_GPIO_WritePin(GPIOD, USB_OTG_FS_PWR_EN_Pin|PMOD_RESET_Pin|STSAFE_A100_RESET_Pin, GPIO_PIN_RESET);

  /*Configure GPIO pin Output Level */
  HAL_GPIO_WritePin(SPBTLE_RF_SPI3_CSN_GPIO_Port, SPBTLE_RF_SPI3_CSN_Pin, GPIO_PIN_SET);

  /*Configure GPIO pin Output Level */
  HAL_GPIO_WritePin(SPSGRF_915_SPI3_CSN_GPIO_Port, SPSGRF_915_SPI3_CSN_Pin, GPIO_PIN_SET);

  /*Configure GPIO pin Output Level */
  HAL_GPIO_WritePin(ISM43362_SPI3_CSN_GPIO_Port, ISM43362_SPI3_CSN_Pin, GPIO_PIN_SET);

  /*Configure GPIO pins : M24SR64_Y_RF_DISABLE_Pin M24SR64_Y_GPO_Pin ISM43362_RST_Pin ISM43362_SPI3_CSN_Pin */
  GPIO_InitStruct.Pin = M24SR64_Y_RF_DISABLE_Pin|M24SR64_Y_GPO_Pin|ISM43362_RST_Pin|ISM43362_SPI3_CSN_Pin;
  GPIO_InitStruct.Mode = GPIO_MODE_OUTPUT_PP;
  GPIO_InitStruct.Pull = GPIO_NOPULL;
  GPIO_InitStruct.Speed = GPIO_SPEED_FREQ_LOW;
  HAL_GPIO_Init(GPIOE, &GPIO_InitStruct);

  /*Configure GPIO pins : USB_OTG_FS_OVRCR_EXTI3_Pin SPSGRF_915_GPIO3_EXTI5_Pin SPBTLE_RF_IRQ_EXTI6_Pin ISM43362_DRDY_EXTI1_Pin */
  GPIO_InitStruct.Pin = USB_OTG_FS_OVRCR_EXTI3_Pin|SPSGRF_915_GPIO3_EXTI5_Pin|SPBTLE_RF_IRQ_EXTI6_Pin|ISM43362_DRDY_EXTI1_Pin;
  GPIO_InitStruct.Mode = GPIO_MODE_IT_RISING;
  GPIO_InitStruct.Pull = GPIO_NOPULL;
  HAL_GPIO_Init(GPIOE, &GPIO_InitStruct);

  /*Configure GPIO pin : BUTTON_EXTI13_Pin */
  GPIO_InitStruct.Pin = BUTTON_EXTI13_Pin;
  GPIO_InitStruct.Mode = GPIO_MODE_IT_FALLING;
  GPIO_InitStruct.Pull = GPIO_NOPULL;
  HAL_GPIO_Init(BUTTON_EXTI13_GPIO_Port, &GPIO_InitStruct);

  /*Configure GPIO pins : ARD_D1_Pin ARD_D0_Pin */
  GPIO_InitStruct.Pin = ARD_D1_Pin|ARD_D0_Pin;
  GPIO_InitStruct.Mode = GPIO_MODE_AF_PP;
  GPIO_InitStruct.Pull = GPIO_NOPULL;
  GPIO_InitStruct.Speed = GPIO_SPEED_FREQ_VERY_HIGH;
  GPIO_InitStruct.Alternate = GPIO_AF8_UART4;
  HAL_GPIO_Init(GPIOA, &GPIO_InitStruct);

  /*Configure GPIO pins : ARD_D10_Pin SPBTLE_RF_RST_Pin ARD_D9_Pin */
  GPIO_InitStruct.Pin = ARD_D10_Pin|SPBTLE_RF_RST_Pin|ARD_D9_Pin;
  GPIO_InitStruct.Mode = GPIO_MODE_OUTPUT_PP;
  GPIO_InitStruct.Pull = GPIO_NOPULL;
  GPIO_InitStruct.Speed = GPIO_SPEED_FREQ_LOW;
  HAL_GPIO_Init(GPIOA, &GPIO_InitStruct);

  /*Configure GPIO pin : ARD_D4_Pin */
  GPIO_InitStruct.Pin = ARD_D4_Pin;
  GPIO_InitStruct.Mode = GPIO_MODE_AF_PP;
  GPIO_InitStruct.Pull = GPIO_NOPULL;
  GPIO_InitStruct.Speed = GPIO_SPEED_FREQ_LOW;
  GPIO_InitStruct.Alternate = GPIO_AF1_TIM2;
  HAL_GPIO_Init(ARD_D4_GPIO_Port, &GPIO_InitStruct);

  /*Configure GPIO pins : ARD_D13_Pin ARD_D12_Pin ARD_D11_Pin */
  GPIO_InitStruct.Pin = ARD_D13_Pin|ARD_D12_Pin|ARD_D11_Pin;
  GPIO_InitStruct.Mode = GPIO_MODE_AF_PP;
  GPIO_InitStruct.Pull = GPIO_NOPULL;
  GPIO_InitStruct.Speed = GPIO_SPEED_FREQ_VERY_HIGH;
  GPIO_InitStruct.Alternate = GPIO_AF5_SPI1;
  HAL_GPIO_Init(GPIOA, &GPIO_InitStruct);

  /*Configure GPIO pins : ENABLE_HEATER_Pin ENABLE_BREW_Pin VL53L0X_XSHUT_Pin LED3_WIFI__LED4_BLE_Pin */
  GPIO_InitStruct.Pin = ENABLE_HEATER_Pin|ENABLE_BREW_Pin|VL53L0X_XSHUT_Pin|LED3_WIFI__LED4_BLE_Pin;
  GPIO_InitStruct.Mode = GPIO_MODE_OUTPUT_PP;
  GPIO_InitStruct.Pull = GPIO_NOPULL;
  GPIO_InitStruct.Speed = GPIO_SPEED_FREQ_LOW;
  HAL_GPIO_Init(GPIOC, &GPIO_InitStruct);

  /*Configure GPIO pin : ARD_D3_Pin */
  GPIO_InitStruct.Pin = ARD_D3_Pin;
  GPIO_InitStruct.Mode = GPIO_MODE_IT_RISING;
  GPIO_InitStruct.Pull = GPIO_NOPULL;
  HAL_GPIO_Init(ARD_D3_GPIO_Port, &GPIO_InitStruct);

  /*Configure GPIO pins : ARD_D8_Pin ISM43362_BOOT0_Pin ISM43362_WAKEUP_Pin LED2_Pin
                           SPSGRF_915_SDN_Pin ARD_D5_Pin SPSGRF_915_SPI3_CSN_Pin */
  GPIO_InitStruct.Pin = ARD_D8_Pin|ISM43362_BOOT0_Pin|ISM43362_WAKEUP_Pin|LED2_Pin
                          |SPSGRF_915_SDN_Pin|ARD_D5_Pin|SPSGRF_915_SPI3_CSN_Pin;
  GPIO_InitStruct.Mode = GPIO_MODE_OUTPUT_PP;
  GPIO_InitStruct.Pull = GPIO_NOPULL;
  GPIO_InitStruct.Speed = GPIO_SPEED_FREQ_LOW;
  HAL_GPIO_Init(GPIOB, &GPIO_InitStruct);

  /*Configure GPIO pins : LPS22HB_INT_DRDY_EXTI0_Pin LSM6DSL_INT1_EXTI11_Pin ARD_D2_Pin HTS221_DRDY_EXTI15_Pin
                           PMOD_IRQ_EXTI12_Pin */
  GPIO_InitStruct.Pin = LPS22HB_INT_DRDY_EXTI0_Pin|LSM6DSL_INT1_EXTI11_Pin|ARD_D2_Pin|HTS221_DRDY_EXTI15_Pin
                          |PMOD_IRQ_EXTI12_Pin;
  GPIO_InitStruct.Mode = GPIO_MODE_IT_RISING;
  GPIO_InitStruct.Pull = GPIO_NOPULL;
  HAL_GPIO_Init(GPIOD, &GPIO_InitStruct);

  /*Configure GPIO pins : USB_OTG_FS_PWR_EN_Pin SPBTLE_RF_SPI3_CSN_Pin PMOD_RESET_Pin STSAFE_A100_RESET_Pin */
  GPIO_InitStruct.Pin = USB_OTG_FS_PWR_EN_Pin|SPBTLE_RF_SPI3_CSN_Pin|PMOD_RESET_Pin|STSAFE_A100_RESET_Pin;
  GPIO_InitStruct.Mode = GPIO_MODE_OUTPUT_PP;
  GPIO_InitStruct.Pull = GPIO_NOPULL;
  GPIO_InitStruct.Speed = GPIO_SPEED_FREQ_LOW;
  HAL_GPIO_Init(GPIOD, &GPIO_InitStruct);

  /*Configure GPIO pins : VL53L0X_GPIO1_EXTI7_Pin LSM3MDL_DRDY_EXTI8_Pin */
  GPIO_InitStruct.Pin = VL53L0X_GPIO1_EXTI7_Pin|LSM3MDL_DRDY_EXTI8_Pin;
  GPIO_InitStruct.Mode = GPIO_MODE_IT_RISING;
  GPIO_InitStruct.Pull = GPIO_NOPULL;
  HAL_GPIO_Init(GPIOC, &GPIO_InitStruct);

  /*Configure GPIO pin : PMOD_SPI2_SCK_Pin */
  GPIO_InitStruct.Pin = PMOD_SPI2_SCK_Pin;
  GPIO_InitStruct.Mode = GPIO_MODE_AF_PP;
  GPIO_InitStruct.Pull = GPIO_NOPULL;
  GPIO_InitStruct.Speed = GPIO_SPEED_FREQ_VERY_HIGH;
  GPIO_InitStruct.Alternate = GPIO_AF5_SPI2;
  HAL_GPIO_Init(PMOD_SPI2_SCK_GPIO_Port, &GPIO_InitStruct);

  /*Configure GPIO pins : PMOD_UART2_CTS_Pin PMOD_UART2_RTS_Pin PMOD_UART2_TX_Pin PMOD_UART2_RX_Pin */
  GPIO_InitStruct.Pin = PMOD_UART2_CTS_Pin|PMOD_UART2_RTS_Pin|PMOD_UART2_TX_Pin|PMOD_UART2_RX_Pin;
  GPIO_InitStruct.Mode = GPIO_MODE_AF_PP;
  GPIO_InitStruct.Pull = GPIO_NOPULL;
  GPIO_InitStruct.Speed = GPIO_SPEED_FREQ_VERY_HIGH;
  GPIO_InitStruct.Alternate = GPIO_AF7_USART2;
  HAL_GPIO_Init(GPIOD, &GPIO_InitStruct);

  /*Configure GPIO pins : ARD_D15_Pin ARD_D14_Pin */
  GPIO_InitStruct.Pin = ARD_D15_Pin|ARD_D14_Pin;
  GPIO_InitStruct.Mode = GPIO_MODE_AF_OD;
  GPIO_InitStruct.Pull = GPIO_PULLUP;
  GPIO_InitStruct.Speed = GPIO_SPEED_FREQ_VERY_HIGH;
  GPIO_InitStruct.Alternate = GPIO_AF4_I2C1;
  HAL_GPIO_Init(GPIOB, &GPIO_InitStruct);

  /* EXTI interrupt init*/
  HAL_NVIC_SetPriority(EXTI9_5_IRQn, 5, 0);
  HAL_NVIC_EnableIRQ(EXTI9_5_IRQn);

  HAL_NVIC_SetPriority(EXTI15_10_IRQn, 5, 0);
  HAL_NVIC_EnableIRQ(EXTI15_10_IRQn);

}

void StartDefaultTask(void const * argument)
{
  for(;;)
  {
    osDelay(1);
  }
}

 /**
  * @brief  Period elapsed callback in non blocking mode
  * @note   This function is called  when TIM1 interrupt took place, inside
  * HAL_TIM_IRQHandler(). It makes a direct call to HAL_IncTick() to increment
  * a global variable "uwTick" used as application time base.
  * @param  htim : TIM handle
  * @retval None
  */
void HAL_TIM_PeriodElapsedCallback(TIM_HandleTypeDef *htim)
{
  if (htim->Instance == TIM1) {
    HAL_IncTick();
  }
}

void Error_Handler(void)
{
}

/************************ (C) COPYRIGHT STMicroelectronics *****END OF FILE****/
